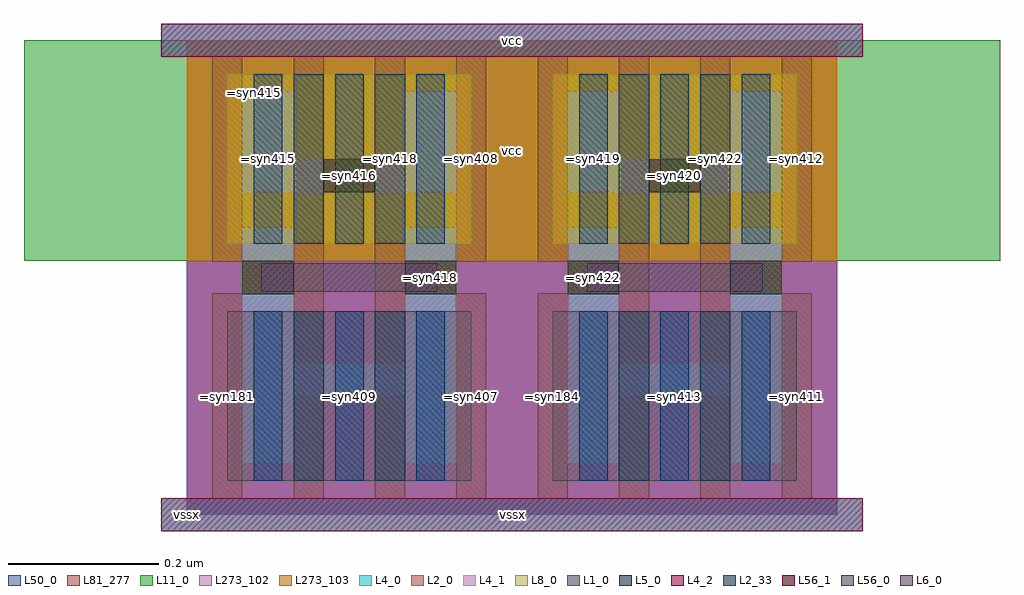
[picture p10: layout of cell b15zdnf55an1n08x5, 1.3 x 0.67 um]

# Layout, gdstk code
import gdstk
lib = gdstk.Library(unit=1e-6, precision=5e-10)
def R(c, l, rs):  # rectangles x0, y0, x1, y1
    for r in rs: c.add(gdstk.rectangle(r[:2], r[2:], *l))
def A(c, l, x, y, w, h, nx, ny, dx, dy):  # array of equal rectangles
    R(c, l, [(x+i*dx, y+j*dy, x+i*dx+w, y+j*dy+h) for i in range(nx) for j in range(ny)])
def P(c, l, *ps):  # polygons
    for p in ps: c.add(gdstk.Polygon(p, *l))
L1_0 = (1, 0)
L2_0 = (2, 0)
L2_33 = (2, 33)
L4_0 = (4, 0)
L4_1 = (4, 1)
L4_2 = (4, 2)
L5_0 = (5, 0)
L6_0 = (6, 0)
L8_0 = (8, 0)
L11_0 = (11, 0)
L50_0 = (50, 0)
L56_0 = (56, 0)
L56_1 = (56, 1)
L81_277 = (81, 277)
L273_102 = (273, 102)
L273_103 = (273, 103)

b15zdnf55an1n08x5 = lib.new_cell('b15zdnf55an1n08x5')
R(b15zdnf55an1n08x5, L1_0, [(0.054,0.045,0.378,0.27), (0.486,0.045,0.81,0.27)])
R(b15zdnf55an1n08x5, L2_0, [(0.034,0.021,0.074,0.294), (0.142,0.021,0.182,0.609), (0.25,0.021,0.29,0.609), (0.358,0.021,0.398,0.294), (0.466,0.021,0.506,0.294), (0.574,0.021,0.614,0.609), (0.682,0.021,0.722,0.609), (0.79,0.021,0.83,0.294), (0.034,0.336,0.074,0.609), (0.358,0.336,0.398,0.609), (0.466,0.336,0.506,0.609), (0.79,0.336,0.83,0.609)])
R(b15zdnf55an1n08x5, L2_33, [(0.142,0.045,0.182,0.27), (0.25,0.045,0.29,0.27), (0.574,0.045,0.614,0.27), (0.682,0.045,0.722,0.27), (0.142,0.36,0.182,0.585), (0.25,0.36,0.29,0.585), (0.574,0.36,0.614,0.585), (0.682,0.36,0.722,0.585)])
R(b15zdnf55an1n08x5, L4_0, [(-0.034,-0.022,0.898,0.022), (-0.034,0.608,0.898,0.652)])
P(b15zdnf55an1n08x5, L4_0, [(0.358,0.428),(0.074,0.428),(0.074,0.562),(0.142,0.562),(0.142,0.472),(0.29,0.472),(0.29,0.562),(0.358,0.562)],
  [(0.358,0.068),(0.29,0.068),(0.29,0.158),(0.142,0.158),(0.142,0.068),(0.074,0.068),(0.074,0.382),(0.142,0.382),(0.142,0.202),(0.29,0.202),(0.29,0.382),(0.358,0.382)],
  [(0.79,0.428),(0.506,0.428),(0.506,0.562),(0.574,0.562),(0.574,0.472),(0.722,0.472),(0.722,0.562),(0.79,0.562)],
  [(0.79,0.068),(0.722,0.068),(0.722,0.158),(0.574,0.158),(0.574,0.068),(0.506,0.068),(0.506,0.382),(0.574,0.382),(0.574,0.202),(0.722,0.202),(0.722,0.382),(0.79,0.382)])
P(b15zdnf55an1n08x5, L4_1, [(0.358,0.428),(0.074,0.428),(0.074,0.562),(0.142,0.562),(0.142,0.472),(0.29,0.472),(0.29,0.562),(0.358,0.562)],
  [(0.358,0.068),(0.29,0.068),(0.29,0.158),(0.142,0.158),(0.142,0.068),(0.074,0.068),(0.074,0.382),(0.142,0.382),(0.142,0.202),(0.29,0.202),(0.29,0.382),(0.358,0.382)],
  [(0.79,0.428),(0.506,0.428),(0.506,0.562),(0.574,0.562),(0.574,0.472),(0.722,0.472),(0.722,0.562),(0.79,0.562)],
  [(0.79,0.068),(0.722,0.068),(0.722,0.158),(0.574,0.158),(0.574,0.068),(0.506,0.068),(0.506,0.382),(0.574,0.382),(0.574,0.202),(0.722,0.202),(0.722,0.382),(0.79,0.382)])
R(b15zdnf55an1n08x5, L4_2, [(-0.034,-0.022,0.898,0.022), (-0.034,0.608,0.898,0.652)])
A(b15zdnf55an1n08x5, L5_0, 0.089, 0.045, 0.038, 0.225, 3, 2, 0.108, 0.315)
A(b15zdnf55an1n08x5, L5_0, 0.521, 0.045, 0.038, 0.225, 3, 2, 0.108, 0.315)
R(b15zdnf55an1n08x5, L6_0, [(0.099,0.296,0.333,0.334), (0.531,0.296,0.765,0.334)])
R(b15zdnf55an1n08x5, L8_0, [(0.054,0.36,0.378,0.585), (0.486,0.36,0.81,0.585)])
R(b15zdnf55an1n08x5, L11_0, [(-0.216,0.3375,1.08,0.63)])
R(b15zdnf55an1n08x5, L50_0, [(0,0,0.864,0.63)])
A(b15zdnf55an1n08x5, L56_0, 0.074, 0.293, 0.068, 0.044, 4, 1, 0.216, 0)
R(b15zdnf55an1n08x5, L56_0, [(0.182,0.428,0.25,0.472), (0.614,0.428,0.682,0.472)])
A(b15zdnf55an1n08x5, L56_1, 0.074, 0.293, 0.068, 0.044, 4, 1, 0.216, 0)
R(b15zdnf55an1n08x5, L56_1, [(0.182,0.428,0.25,0.472), (0.614,0.428,0.682,0.472)])
R(b15zdnf55an1n08x5, L81_277, [(0,0,0.864,0.63)])
R(b15zdnf55an1n08x5, L273_102, [(0,0,0.864,0.3375)])
R(b15zdnf55an1n08x5, L273_103, [(0,0.3375,0.864,0.63)])
b15zdnf55an1n08x5.add(gdstk.Label('vssx', (0,0), layer=81, texttype=6))
b15zdnf55an1n08x5.add(gdstk.Label('vcc', (0.432,0.484), layer=11, texttype=0))
b15zdnf55an1n08x5.add(gdstk.Label('=syn415', (0.108,0.4725), layer=8, texttype=0))
b15zdnf55an1n08x5.add(gdstk.Label('=syn419', (0.54,0.4725), layer=8, texttype=0))
b15zdnf55an1n08x5.add(gdstk.Label('=syn416', (0.216,0.45), layer=4, texttype=0))
b15zdnf55an1n08x5.add(gdstk.Label('=syn418', (0.324,0.315), layer=4, texttype=0))
b15zdnf55an1n08x5.add(gdstk.Label('=syn420', (0.648,0.45), layer=4, texttype=0))
b15zdnf55an1n08x5.add(gdstk.Label('=syn422', (0.54,0.315), layer=4, texttype=0))
b15zdnf55an1n08x5.add(gdstk.Label('vcc', (0.432,0.63), layer=4, texttype=0))
b15zdnf55an1n08x5.add(gdstk.Label('vssx', (0.432,0), layer=4, texttype=0))
b15zdnf55an1n08x5.add(gdstk.Label('vcc', (0.432,0.63), layer=4, texttype=2))
b15zdnf55an1n08x5.add(gdstk.Label('vssx', (0.432,0), layer=4, texttype=2))
b15zdnf55an1n08x5.add(gdstk.Label('=syn182', (0.054,0.4725), layer=2, texttype=0))
b15zdnf55an1n08x5.add(gdstk.Label('=syn181', (0.054,0.1575), layer=2, texttype=0))
b15zdnf55an1n08x5.add(gdstk.Label('=syn418', (0.162,0.4725), layer=2, texttype=0))
b15zdnf55an1n08x5.add(gdstk.Label('=syn418', (0.27,0.4725), layer=2, texttype=0))
b15zdnf55an1n08x5.add(gdstk.Label('=syn408', (0.378,0.4725), layer=2, texttype=0))
b15zdnf55an1n08x5.add(gdstk.Label('=syn407', (0.378,0.1575), layer=2, texttype=0))
b15zdnf55an1n08x5.add(gdstk.Label('=syn185', (0.486,0.4725), layer=2, texttype=0))
b15zdnf55an1n08x5.add(gdstk.Label('=syn184', (0.486,0.1575), layer=2, texttype=0))
b15zdnf55an1n08x5.add(gdstk.Label('=syn422', (0.594,0.4725), layer=2, texttype=0))
b15zdnf55an1n08x5.add(gdstk.Label('=syn422', (0.702,0.4725), layer=2, texttype=0))
b15zdnf55an1n08x5.add(gdstk.Label('=syn412', (0.81,0.4725), layer=2, texttype=0))
b15zdnf55an1n08x5.add(gdstk.Label('=syn411', (0.81,0.1575), layer=2, texttype=0))
b15zdnf55an1n08x5.add(gdstk.Label('=syn409', (0.216,0.1575), layer=1, texttype=0))
b15zdnf55an1n08x5.add(gdstk.Label('=syn414', (0.756,0.1575), layer=1, texttype=0))
b15zdnf55an1n08x5.add(gdstk.Label('=syn418', (0.324,0.315), layer=6, texttype=0))
b15zdnf55an1n08x5.add(gdstk.Label('=syn422', (0.54,0.315), layer=6, texttype=0))
b15zdnf55an1n08x5.add(gdstk.Label('=syn415', (0.09,0.56), layer=5, texttype=0))
b15zdnf55an1n08x5.add(gdstk.Label('=syn183', (0.108,0.1575), layer=5, texttype=0))
b15zdnf55an1n08x5.add(gdstk.Label('=syn416', (0.216,0.45), layer=5, texttype=0))
b15zdnf55an1n08x5.add(gdstk.Label('=syn409', (0.216,0.1575), layer=5, texttype=0))
b15zdnf55an1n08x5.add(gdstk.Label('=syn417', (0.324,0.4725), layer=5, texttype=0))
b15zdnf55an1n08x5.add(gdstk.Label('=syn410', (0.324,0.1575), layer=5, texttype=0))
b15zdnf55an1n08x5.add(gdstk.Label('=syn419', (0.54,0.4725), layer=5, texttype=0))
b15zdnf55an1n08x5.add(gdstk.Label('=syn186', (0.54,0.1575), layer=5, texttype=0))
b15zdnf55an1n08x5.add(gdstk.Label('=syn420', (0.648,0.45), layer=5, texttype=0))
b15zdnf55an1n08x5.add(gdstk.Label('=syn413', (0.648,0.1575), layer=5, texttype=0))
b15zdnf55an1n08x5.add(gdstk.Label('=syn421', (0.756,0.4725), layer=5, texttype=0))
b15zdnf55an1n08x5.add(gdstk.Label('=syn414', (0.756,0.1575), layer=5, texttype=0))

lib.write_gds('b15zdnf55an1n08x5.gds')
